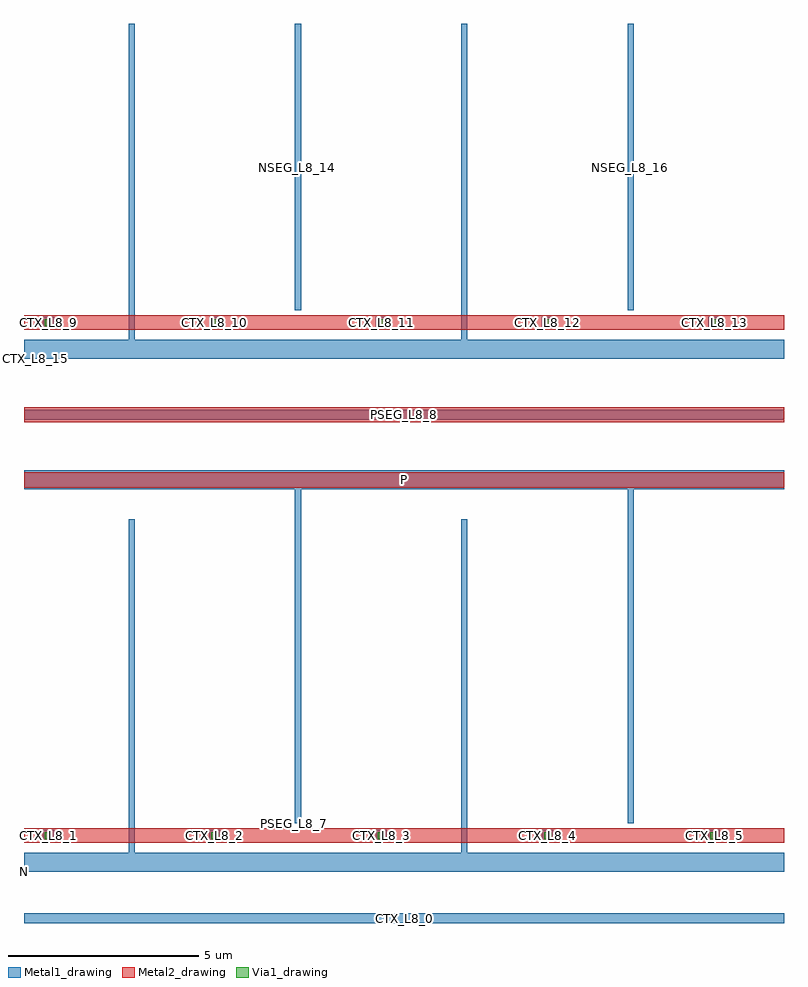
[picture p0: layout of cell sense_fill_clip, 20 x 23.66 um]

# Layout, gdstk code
import gdstk
lib = gdstk.Library(unit=1e-6, precision=1e-09)
def R(c, l, rs):  # rectangles x0, y0, x1, y1
    for r in rs: c.add(gdstk.rectangle(r[:2], r[2:], *l))
def A(c, l, x, y, w, h, nx, ny, dx, dy):  # array of equal rectangles
    R(c, l, [(x+i*dx, y+j*dy, x+i*dx+w, y+j*dy+h) for i in range(nx) for j in range(ny)])
def P(c, l, *ps):  # polygons
    for p in ps: c.add(gdstk.Polygon(p, *l))
Metal1_drawing = (8, 0)
Metal2_drawing = (10, 0)
Via1_drawing = (19, 0)

sense_fill_clip = lib.new_cell('sense_fill_clip')
A(sense_fill_clip, Metal1_drawing, 113.28, 39.52, 0.3, 0.3, 5, 2, 4.38, 13.5)
R(sense_fill_clip, Metal1_drawing, [(112.79,37.37,132.79,37.63), (112.79,50.62,132.79,50.88), (119.92,53.5,120.08,61.03), (128.68,53.5,128.84,61.03)])
P(sense_fill_clip, Metal1_drawing, [(112.79,38.72),(112.79,39.22),(115.54,39.22),(115.54,48),(115.7,48),(115.7,39.22),(124.3,39.22),(124.3,48),(124.46,48),(124.46,39.22),(132.79,39.22),(132.79,38.72)],
  [(119.92,40),(119.92,48.78),(112.79,48.78),(112.79,49.28),(132.79,49.28),(132.79,48.78),(128.84,48.78),(128.84,40),(128.68,40),(128.68,48.78),(120.08,48.78),(120.08,40)],
  [(112.79,52.22),(112.79,52.72),(115.54,52.72),(115.54,61.03),(115.7,61.03),(115.7,52.72),(124.3,52.72),(124.3,61.03),(124.46,61.03),(124.46,52.72),(132.79,52.72),(132.79,52.22)])
R(sense_fill_clip, Metal2_drawing, [(112.79,39.48,132.79,39.86), (112.79,48.83,132.79,49.23), (112.79,50.55,132.79,50.95), (112.79,52.98,132.79,53.36)])
A(sense_fill_clip, Via1_drawing, 113.335, 39.575, 0.19, 0.19, 5, 2, 4.38, 13.5)
sense_fill_clip.add(gdstk.Label('CTX_L8_0', (122.79,37.5), layer=8, texttype=25))
sense_fill_clip.add(gdstk.Label('CTX_L8_1', (113.43,39.67), layer=8, texttype=25))
sense_fill_clip.add(gdstk.Label('CTX_L8_2', (117.81,39.67), layer=8, texttype=25))
sense_fill_clip.add(gdstk.Label('CTX_L8_3', (122.19,39.67), layer=8, texttype=25))
sense_fill_clip.add(gdstk.Label('CTX_L8_4', (126.57,39.67), layer=8, texttype=25))
sense_fill_clip.add(gdstk.Label('CTX_L8_5', (130.95,39.67), layer=8, texttype=25))
sense_fill_clip.add(gdstk.Label('N', (112.791,38.721), layer=8, texttype=25))
sense_fill_clip.add(gdstk.Label('PSEG_L8_7', (119.921,40.001), layer=8, texttype=25))
sense_fill_clip.add(gdstk.Label('PSEG_L8_8', (122.79,50.75), layer=8, texttype=25))
sense_fill_clip.add(gdstk.Label('CTX_L8_9', (113.43,53.17), layer=8, texttype=25))
sense_fill_clip.add(gdstk.Label('CTX_L8_10', (117.81,53.17), layer=8, texttype=25))
sense_fill_clip.add(gdstk.Label('CTX_L8_11', (122.19,53.17), layer=8, texttype=25))
sense_fill_clip.add(gdstk.Label('CTX_L8_12', (126.57,53.17), layer=8, texttype=25))
sense_fill_clip.add(gdstk.Label('CTX_L8_13', (130.95,53.17), layer=8, texttype=25))
sense_fill_clip.add(gdstk.Label('NSEG_L8_14', (120,57.265), layer=8, texttype=25))
sense_fill_clip.add(gdstk.Label('CTX_L8_15', (112.791,52.221), layer=8, texttype=25))
sense_fill_clip.add(gdstk.Label('NSEG_L8_16', (128.76,57.265), layer=8, texttype=25))
sense_fill_clip.add(gdstk.Label('CTX_L10_0', (122.79,39.67), layer=10, texttype=25))
sense_fill_clip.add(gdstk.Label('P', (122.79,49.03), layer=10, texttype=25))
sense_fill_clip.add(gdstk.Label('PSEG_L10_2', (122.79,50.75), layer=10, texttype=25))
sense_fill_clip.add(gdstk.Label('CTX_L10_3', (122.79,53.17), layer=10, texttype=25))

lib.write_gds('sense_fill_clip.gds')
